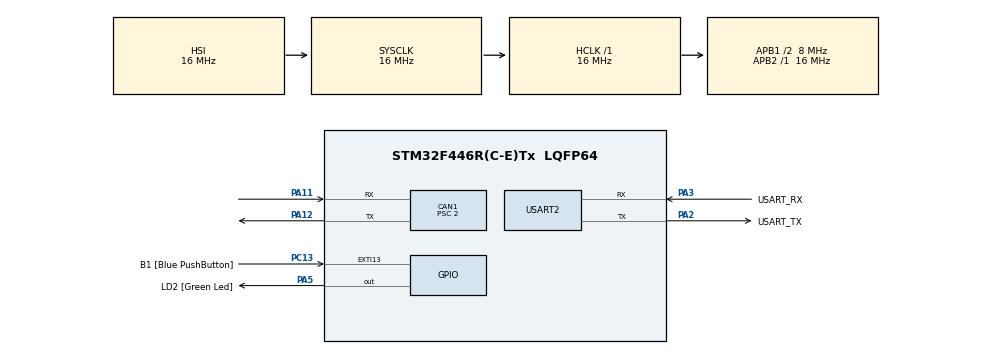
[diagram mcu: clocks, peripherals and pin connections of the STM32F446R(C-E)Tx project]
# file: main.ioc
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CAN1.BS1=CAN_BS1_2TQ
CAN1.CalculateBaudRate=1000000
CAN1.CalculateTimeBit=1000
CAN1.CalculateTimeQuantum=250.0
CAN1.Prescaler=2
Mcu.Family=STM32F4
Mcu.Name=STM32F446R(C-E)Tx
Mcu.Package=LQFP64
NVIC.CAN1_RX0_IRQn=true\:0\:0\:false\:false\:true\:true\:true\:true
NVIC.PriorityGroup=NVIC_PRIORITYGROUP_0
PA11.Mode=CAN_Activate
PA11.Signal=CAN1_RX
PA12.Mode=CAN_Activate
PA12.Signal=CAN1_TX
PA13.GPIO_Label=TMS
PA13.Mode=Serial_Wire
PA13.Signal=SYS_JTMS-SWDIO
PA14.GPIO_Label=TCK
PA14.Mode=Serial_Wire
PA14.Signal=SYS_JTCK-SWCLK
PA2.GPIO_Label=USART_TX
PA2.Mode=Asynchronous
PA2.Signal=USART2_TX
PA3.GPIO_Label=USART_RX
PA3.Mode=Asynchronous
PA3.Signal=USART2_RX
PA5.GPIO_Label=LD2 [Green Led]
PA5.Signal=GPIO_Output
PB3.GPIO_Label=SWO
PB3.Signal=SYS_JTDO-SWO
PC13.GPIO_Label=B1 [Blue PushButton]
PC13.GPIO_ModeDefaultEXTI=GPIO_MODE_IT_FALLING
PC13.Signal=GPXTI13
PC14-OSC32_IN.Mode=LSE-External-Oscillator
PC14-OSC32_IN.Signal=RCC_OSC32_IN
PC15-OSC32_OUT.Mode=LSE-External-Oscillator
PC15-OSC32_OUT.Signal=RCC_OSC32_OUT
PH0-OSC_IN.Mode=HSE-External-Oscillator
PH0-OSC_IN.Signal=RCC_OSC_IN
PH1-OSC_OUT.Mode=HSE-External-Oscillator
PH1-OSC_OUT.Signal=RCC_OSC_OUT
ProjectManager.HeapSize=0x200
ProjectManager.StackSize=0x400
ProjectManager.TargetToolchain=STM32CubeIDE
RCC.48MHZClocksFreq_Value=84000000
RCC.AHBFreq_Value=16000000
RCC.APB1CLKDivider=RCC_HCLK_DIV2
RCC.APB1Freq_Value=8000000
RCC.APB1TimFreq_Value=16000000
RCC.APB2Freq_Value=16000000
RCC.APB2TimFreq_Value=16000000
RCC.CortexFreq_Value=16000000
RCC.FLatency-AdvancedSettings=FLASH_LATENCY_0
RCC.HCLKFreq_Value=16000000
RCC.HSE_VALUE=8000000
RCC.HSI_VALUE=16000000
RCC.PLLN=336
RCC.PLLP=RCC_PLLP_DIV4
RCC.SYSCLKFreq_VALUE=16000000
RCC.USBFreq_Value=168000000
RCC.VCOOutputFreq_Value=336000000
USART2.VirtualMode=VM_ASYNC
board=NUCLEO-F446RE

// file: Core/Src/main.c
/* USER CODE BEGIN Header */
/**
  ******************************************************************************
  * @file           : main.c
  * @brief          : Main program body
  ******************************************************************************
  * @attention
  *
  * Copyright (c) 2026 STMicroelectronics.
  * All rights reserved.
  *
  * This software is licensed under terms that can be found in the LICENSE file
  * in the root directory of this software component.
  * If no LICENSE file comes with this software, it is provided AS-IS.
  *
  ******************************************************************************
  */
/* USER CODE END Header */
#include "main.h"

/* USER CODE BEGIN PD */
#define FOOT 100
#define FR 101
#define FL 102
#define BR 103
#define BL 104

#define ARM1 110
#define ADD_RIGHT 111
#define ADD_LEFT 112
#define ADD_LIFT 113
#define ADD_ROTATE 114

#define ARM2 120
#define ADD_MOVE 121
#define PILLER_RIGHT 122
#define PILLER_LEFT 123
#define ROGER 124

#define ENC_FOOT 200

#define ENC_ARM 210

/* USER CODE END PD */

CAN_HandleTypeDef hcan1;

UART_HandleTypeDef huart2;

/* USER CODE BEGIN PV */
uint16_t enc_state[10]; //FR, BL, FL, BR, pillerR, addR, addL, pillerL, add_rotate, add_move
uint8_t limit_state[10]; //rogerT,rogerB,pillerL,pillerR,addL,addR,liftT,liftB,moveL,moveR
int tx_flag = 0;
int tx_state = FOOT;

uint8_t currentPWM[12]; //FR, BL, FL, BR, addR, addL, addLift, addRotate, addMove, pillerR, pillerL, roger
uint8_t targetPWM[12]; //FR, BL, FL, BR, addR, addL, addLift, addRotate, addMove, pillerR, pillerL, roger
uint8_t DIR[4];
const uint8_t PCoefficient = 0.1;

uint8_t controler[8] = 0;
/* USER CODE END PV */

void SystemClock_Config(void);
static void MX_GPIO_Init(void);
static void MX_USART2_UART_Init(void);
static void MX_CAN1_Init(void);

/* USER CODE BEGIN 0 */

void HAL_CAN_RxFifo0MsgPendingCallback(CAN_HandleTypeDef *hcan1){
    CAN_RxHeaderTypeDef RxHeader;
    uint8_t RxData[8];
    if(HAL_CAN_GetRxMessage(hcan, CAN_RX_FIFO0, &RxHeader, RxData) == HAL_OK){
    	switch(RxHeader.StdId){
    	case 0x300:
    		// 受信データ RxData[8] があると仮定
    		enc_state[0] = (uint16_t)RxData[0] | ((uint16_t)RxData[1] << 8);
    		enc_state[1] = (uint16_t)RxData[2] | ((uint16_t)RxData[3] << 8);
    		enc_state[2] = (uint16_t)RxData[4] | ((uint16_t)RxData[5] << 8);
    		enc_state[3] = (uint16_t)RxData[6] | ((uint16_t)RxData[7] << 8);
    		tx_flag = 1;
    		tx_state = ENC_FOOT;
    		break;

    	case 0x301:
    		enc_state[4] = (uint16_t)RxData[0] | ((uint16_t)RxData[1] << 8);
    		enc_state[5] = (uint16_t)RxData[2] | ((uint16_t)RxData[3] << 8);
    		enc_state[6] = (uint16_t)RxData[4] | ((uint16_t)RxData[5] << 8);
    		enc_state[7] = (uint16_t)RxData[6] | ((uint16_t)RxData[7] << 8);
    		tx_flag = 2;
    		tx_state = ENC_ARM;
    		break;

    	case 0x302:
    		enc_state[8] = (uint16_t)RxData[0] | ((uint16_t)RxData[1] << 8);
    		enc_state[9] = (uint16_t)RxData[6] | ((uint16_t)RxData[7] << 8);
    		tx_flag = 3;
    		tx_state = ENC_ARM2;
    		break;
    }
    }
}

void ARMPWM(uint8_t motor_number, uint8_t button, uint8_t LS, int16_t currentVel) {
    // デフォルトは停止。ボタンが離されたら直ちにPWMを0にする。
    uint8_t output = 0;

    // ボタンが押されており、かつリミットスイッチが「押されていない(!LS)」場合のみ出力を出す
    // LSが1(真)になった瞬間に、論理積により強制的に出力が0になります。
    if (button && !LS) {
        output = 99; // 暫定出力
    }

    switch (motor_number) {
        case ADD_RIGHT:
            targetPWM[4] = output;
            break;
        case ADD_LEFT:
            targetPWM[5] = output;
            break;
        case ADD_LIFT:
            targetPWM[6] = output;
            break;
        case ADD_ROTATE:
            targetPWM[7] = output;
            break;
        case ADD_MOVE:
            targetPWM[8] = output;
            break;
        case PILLER_RIGHT:
            targetPWM[9] = output;
            break;
        case PILELR_LEFT:
            targetPWM[10] = output;
            break;
        case ROGER:
            targetPWM[11] = output;
            break;
        default:
            break;
    }
}

uint8_t footPWM(uint8_t motor_number, uint8_t stickX, uint8_t stickY, int16_t currentVel) {
        // 1. スティック値を -127 ~ 127 の範囲に正規化
        int16_t vx = (int16_t)stickX - 128;
        int16_t vy = (int16_t)stickY - 128;

        // 2. X字配置オムニの運動学（Kinematics）に基づいたターゲット速度の計算
        // FR: vy - vx, FL: vy + vx, BR: vy + vx, BL: vy - vx
        int16_t targetVel = 0;
        switch (motor_number) {
            case FL: targetVel = vy + vx; break;
            case FR: targetVel = vy - vx; break;
            case BL: targetVel = vy - vx; break;
            case BR: targetVel = vy + vx; break;
            default: return 0;
        }

        // 3. P制御 (Proportional Control)
        // PWM = Kp * (Target - Current)
        // 本来 Kp は float であるべきですが、整数演算にする場合はスケーリングします
        float Kp = 0.5f; // 仮のゲイン。PCoefficientの代わりに。
        int16_t error = targetVel - currentVel;
        int16_t output = (int16_t)(Kp * error);

        // 4. 出力制限と絶対値化（PWMは0~255のため）
        // 方向（DIR）は別途 motorTransmit で処理することを想定
        if (output > 255) output = 255;
        if (output < -255) output = -255;

        return (uint8_t)abs(output);
}

void motorTransmit(){
	CAN_TxHeaderTypeDef* TxHeader;
    uint32_t TxMailbox;
    uint8_t TxData[8];

    if( 0 < HAL_CAN_GetTxMailboxesFreeLevel(&hcan) && HAL_GetTick() - pre_transmit >= 10 ){
        switch(tx_state){
        case ENC_FOOT:
    	TxHeader.StdId = 0x100;
        case ENC_ARM
        }
        TxHeader.RTR = CAN_RTR_DATA;
        TxHeader.IDE = CAN_ID_STD;
        TxHeader.DLC = 8;
        TxHeader.TransmitGlobalTime = DISABLE;

        for(int i = 0; i < 4 ; i++){
        	TxData[i] = currentPWM[i];
        }
        for(int i = 0; i < 4; i++){
        	TxData[i+4] = currentDIR[i];
        }

        pre_transmit = HAL_GetTick();

        HAL_CAN_AddTxMessage(&hcan, &TxHeader, TxData, &TxMailbox);
    }
}
}
/* USER CODE END 0 */

int main(void)
{

  /* MCU Configuration--------------------------------------------------------*/

  /* Reset of all peripherals, Initializes the Flash interface and the Systick. */
  HAL_Init();

  /* Configure the system clock */
  SystemClock_Config();

  /* Initialize all configured peripherals */
  MX_GPIO_Init();
  MX_USART2_UART_Init();
  MX_CAN1_Init();
  /* USER CODE BEGIN 2 */
  HAL_CAN_Start(&hcan1);
  HAL_CAN_ActivateNotification(&hcan1, CAN_IT_RX_FIFO0_MSG_PENDING);
  /* USER CODE END 2 */

  /* Infinite loop */
  /* USER CODE BEGIN WHILE */
  while (1)
  {
	  updatePWM();
	  if(tx_flag){
	  mortorTransmit();
	  tx_flag = 0;
	  }
    /* USER CODE END WHILE */
  }
}

void SystemClock_Config(void)
{
  RCC_OscInitTypeDef RCC_OscInitStruct = {0};
  RCC_ClkInitTypeDef RCC_ClkInitStruct = {0};

  /** Configure the main internal regulator output voltage
  */
  __HAL_RCC_PWR_CLK_ENABLE();
  __HAL_PWR_VOLTAGESCALING_CONFIG(PWR_REGULATOR_VOLTAGE_SCALE3);

  /** Initializes the RCC Oscillators according to the specified parameters
  * in the RCC_OscInitTypeDef structure.
  */
  RCC_OscInitStruct.OscillatorType = RCC_OSCILLATORTYPE_HSI;
  RCC_OscInitStruct.HSIState = RCC_HSI_ON;
  RCC_OscInitStruct.HSICalibrationValue = RCC_HSICALIBRATION_DEFAULT;
  RCC_OscInitStruct.PLL.PLLState = RCC_PLL_NONE;
  if (HAL_RCC_OscConfig(&RCC_OscInitStruct) != HAL_OK)
  {
    Error_Handler();
  }

  /** Initializes the CPU, AHB and APB buses clocks
  */
  RCC_ClkInitStruct.ClockType = RCC_CLOCKTYPE_HCLK|RCC_CLOCKTYPE_SYSCLK
                              |RCC_CLOCKTYPE_PCLK1|RCC_CLOCKTYPE_PCLK2;
  RCC_ClkInitStruct.SYSCLKSource = RCC_SYSCLKSOURCE_HSI;
  RCC_ClkInitStruct.AHBCLKDivider = RCC_SYSCLK_DIV1;
  RCC_ClkInitStruct.APB1CLKDivider = RCC_HCLK_DIV2;
  RCC_ClkInitStruct.APB2CLKDivider = RCC_HCLK_DIV1;

  if (HAL_RCC_ClockConfig(&RCC_ClkInitStruct, FLASH_LATENCY_0) != HAL_OK)
  {
    Error_Handler();
  }
}

static void MX_CAN1_Init(void)
{

  hcan1.Instance = CAN1;
  hcan1.Init.Prescaler = 2;
  hcan1.Init.Mode = CAN_MODE_NORMAL;
  hcan1.Init.SyncJumpWidth = CAN_SJW_1TQ;
  hcan1.Init.TimeSeg1 = CAN_BS1_2TQ;
  hcan1.Init.TimeSeg2 = CAN_BS2_1TQ;
  hcan1.Init.TimeTriggeredMode = DISABLE;
  hcan1.Init.AutoBusOff = DISABLE;
  hcan1.Init.AutoWakeUp = DISABLE;
  hcan1.Init.AutoRetransmission = DISABLE;
  hcan1.Init.ReceiveFifoLocked = DISABLE;
  hcan1.Init.TransmitFifoPriority = DISABLE;
  if (HAL_CAN_Init(&hcan1) != HAL_OK)
  {
    Error_Handler();
  }

}

static void MX_USART2_UART_Init(void)
{

  huart2.Instance = USART2;
  huart2.Init.BaudRate = 115200;
  huart2.Init.WordLength = UART_WORDLENGTH_8B;
  huart2.Init.StopBits = UART_STOPBITS_1;
  huart2.Init.Parity = UART_PARITY_NONE;
  huart2.Init.Mode = UART_MODE_TX_RX;
  huart2.Init.HwFlowCtl = UART_HWCONTROL_NONE;
  huart2.Init.OverSampling = UART_OVERSAMPLING_16;
  if (HAL_UART_Init(&huart2) != HAL_OK)
  {
    Error_Handler();
  }

}

static void MX_GPIO_Init(void)
{
  GPIO_InitTypeDef GPIO_InitStruct = {0};

  /* GPIO Ports Clock Enable */
  __HAL_RCC_GPIOC_CLK_ENABLE();
  __HAL_RCC_GPIOH_CLK_ENABLE();
  __HAL_RCC_GPIOA_CLK_ENABLE();
  __HAL_RCC_GPIOB_CLK_ENABLE();

  /*Configure GPIO pin Output Level */
  HAL_GPIO_WritePin(LD2_GPIO_Port, LD2_Pin, GPIO_PIN_RESET);

  /*Configure GPIO pin : B1_Pin */
  GPIO_InitStruct.Pin = B1_Pin;
  GPIO_InitStruct.Mode = GPIO_MODE_IT_FALLING;
  GPIO_InitStruct.Pull = GPIO_NOPULL;
  HAL_GPIO_Init(B1_GPIO_Port, &GPIO_InitStruct);

  /*Configure GPIO pin : LD2_Pin */
  GPIO_InitStruct.Pin = LD2_Pin;
  GPIO_InitStruct.Mode = GPIO_MODE_OUTPUT_PP;
  GPIO_InitStruct.Pull = GPIO_NOPULL;
  GPIO_InitStruct.Speed = GPIO_SPEED_FREQ_LOW;
  HAL_GPIO_Init(LD2_GPIO_Port, &GPIO_InitStruct);

}

void Error_Handler(void)
{
  __disable_irq();
  while (1)
  {
  }
}
